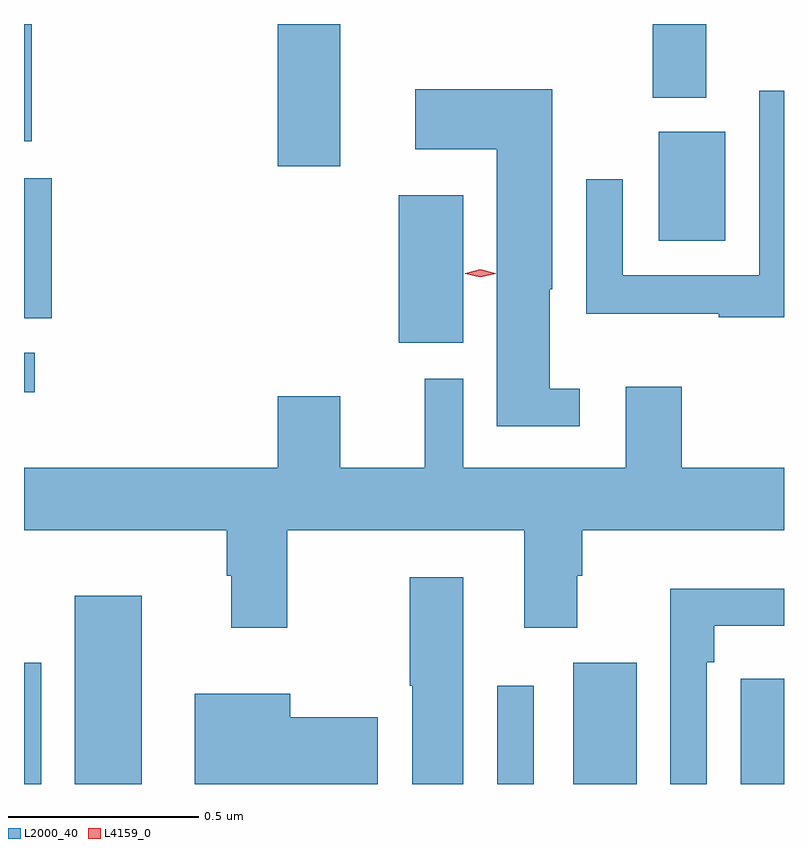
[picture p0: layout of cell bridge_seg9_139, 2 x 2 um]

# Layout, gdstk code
import gdstk
lib = gdstk.Library(unit=1e-6, precision=1e-09)
def R(c, l, rs):  # rectangles x0, y0, x1, y1
    for r in rs: c.add(gdstk.rectangle(r[:2], r[2:], *l))
def P(c, l, *ps):  # polygons
    for p in ps: c.add(gdstk.Polygon(p, *l))
L2000_40 = (2000, 40)
L4159_0 = (4159, 0)

bridge_seg9_139 = lib.new_cell('bridge_seg9_139')
R(bridge_seg9_139, L2000_40, [(440.064,1167.78,440.11,1168.099), (440.198,1167.78,440.374,1168.276), (441.309,1167.78,441.405,1168.039), (441.509,1167.78,441.676,1168.099), (441.95,1167.78,442.064,1168.057), (440.064,1168.811,440.092,1168.915), (441.05,1168.941,441.22,1169.329), (440.064,1169.006,440.137,1169.374), (441.734,1169.21,441.91,1169.497), (440.732,1169.406,440.896,1169.78), (440.064,1169.472,440.084,1169.78), (441.719,1169.586,441.859,1169.78)])
P(bridge_seg9_139, L2000_40, [(441.526,1168.82),(441.448,1168.82),(441.448,1169.082),(441.454,1169.082),(441.454,1169.608),(441.093,1169.608),(441.093,1169.45),(441.308,1169.45),(441.308,1168.722),(441.526,1168.722)],
  [(442.064,1169.605),(441.999,1169.605),(441.999,1169.119),(441.639,1169.119),(441.639,1169.371),(441.543,1169.371),(441.543,1169.018),(441.892,1169.018),(441.892,1169.008),(442.064,1169.008)],
  [(440.757,1168.448),(441.38,1168.448),(441.38,1168.191),(441.52,1168.191),(441.52,1168.328),(441.533,1168.328),(441.533,1168.448),(442.064,1168.448),(442.064,1168.612),(441.795,1168.612),(441.795,1168.825),(441.647,1168.825),(441.647,1168.612),(441.22,1168.612),(441.22,1168.846),(441.119,1168.846),(441.119,1168.612),(440.896,1168.612),(440.896,1168.801),(440.732,1168.801),(440.732,1168.612),(440.064,1168.612),(440.064,1168.448),(440.597,1168.448),(440.597,1168.328),(440.609,1168.328),(440.609,1168.191),(440.757,1168.191)],
  [(441.22,1168.324),(441.079,1168.324),(441.079,1168.039),(441.086,1168.039),(441.086,1167.78),(441.22,1167.78)],
  [(441.861,1168.1),(441.881,1168.1),(441.881,1168.196),(442.064,1168.196),(442.064,1168.294),(441.765,1168.294),(441.765,1167.78),(441.861,1167.78)],
  [(440.995,1167.956),(440.764,1167.956),(440.764,1168.018),(440.513,1168.018),(440.513,1167.78),(440.995,1167.78)])
P(bridge_seg9_139, L4159_0, [(441.265,1169.114),(441.225,1169.123),(441.225,1169.124),(441.225,1169.124),(441.265,1169.134),(441.305,1169.124),(441.306,1169.124),(441.305,1169.123)])

lib.write_gds('bridge_seg9_139.gds')
